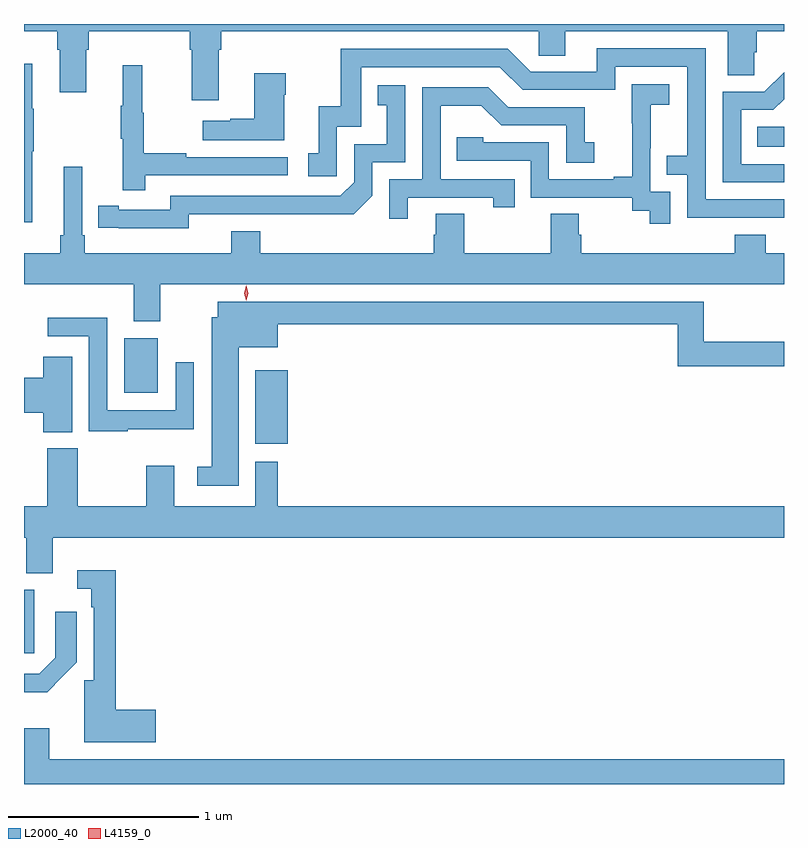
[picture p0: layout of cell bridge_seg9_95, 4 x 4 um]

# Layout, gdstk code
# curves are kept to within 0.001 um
import gdstk
lib = gdstk.Library(unit=1e-6, precision=1e-09)
def R(c, l, rs):  # rectangles x0, y0, x1, y1
    for r in rs: c.add(gdstk.rectangle(r[:2], r[2:], *l))
def P(c, l, *ps):  # polygons
    for p in ps: c.add(gdstk.Polygon(p, *l))
L2000_40 = (2000, 40)
L4159_0 = (4159, 0)

bridge_seg9_95 = lib.new_cell('bridge_seg9_95')
R(bridge_seg9_95, L2000_40, [(658.971,1194.48,659.026,1194.814), (660.188,1195.581,660.359,1195.969), (659.498,1195.85,659.674,1196.137), (662.83,1197.146,662.971,1197.25)])
P(bridge_seg9_95, L2000_40, [(659.995,1197.656),(660.008,1197.656),(660.008,1197.752),(661.68,1197.752),(661.68,1197.625),(661.819,1197.625),(661.819,1197.752),(662.675,1197.752),(662.675,1197.52),(662.814,1197.52),(662.814,1197.643),(662.828,1197.643),(662.828,1197.752),(662.971,1197.752),(662.971,1197.791),(658.971,1197.791),(658.971,1197.752),(659.147,1197.752),(659.147,1197.656),(659.159,1197.656),(659.159,1197.432),(659.299,1197.432),(659.299,1197.656),(659.312,1197.656),(659.312,1197.752),(659.843,1197.752),(659.843,1197.656),(659.855,1197.656),(659.855,1197.39),(659.995,1197.39)],
  [(662.971,1196.868),(662.559,1196.868),(662.559,1197.663),(661.985,1197.663),(661.985,1197.54),(661.638,1197.54),(661.518,1197.66),(660.639,1197.66),(660.639,1197.358),(660.521,1197.358),(660.521,1197.111),(660.468,1197.111),(660.468,1196.991),(660.618,1196.991),(660.618,1197.249),(660.747,1197.249),(660.747,1197.564),(661.476,1197.564),(661.596,1197.444),(662.082,1197.444),(662.082,1197.567),(662.463,1197.567),(662.463,1197.098),(662.353,1197.098),(662.353,1196.997),(662.463,1196.997),(662.463,1196.772),(662.971,1196.771)],
  [(659.014,1197.121),(659.022,1197.121),(659.022,1197.344),(659.014,1197.344),(659.014,1197.583),(658.971,1197.583),(658.971,1196.748),(659.014,1196.748)],
  [(659.609,1196.994),(660.358,1196.994),(660.358,1197.09),(659.825,1197.09),(659.825,1197.11),(659.602,1197.11),(659.602,1197.324),(659.594,1197.324),(659.594,1197.574),(659.492,1197.574),(659.492,1197.361),(659.481,1197.361),(659.481,1197.187),(659.492,1197.187),(659.492,1196.916),(659.609,1196.916)],
  [(662.971,1197.054),(662.745,1197.054),(662.745,1197.339),(662.914,1197.339),(662.971,1197.396),(662.971,1197.538),(662.868,1197.435),(662.649,1197.435),(662.649,1196.958),(662.971,1196.958)],
  [(660.34,1197.419),(660.348,1197.419),(660.348,1197.532),(660.182,1197.532),(660.182,1197.293),(660.056,1197.293),(660.056,1197.283),(659.913,1197.283),(659.913,1197.179),(660.34,1197.179)],
  [(662.373,1196.907),(662.268,1196.907),(662.268,1197.137),(662.27,1197.137),(662.27,1197.365),(662.368,1197.365),(662.368,1197.475),(662.17,1197.475),(662.17,1197.269),(662.171,1197.269),(662.171,1196.986),(662.075,1196.986),(662.075,1196.973),(661.734,1196.973),(661.734,1197.168),(661.389,1197.168),(661.389,1197.195),(661.249,1197.195),(661.249,1197.072),(661.638,1197.072),(661.638,1196.877),(662.172,1196.877),(662.172,1196.809),(662.265,1196.809),(662.265,1196.739),(662.373,1196.739)],
  [(659.838,1196.79),(660.706,1196.789),(660.804,1196.886),(660.804,1197.063),(660.978,1197.063),(660.978,1197.469),(660.832,1197.469),(660.832,1197.363),(660.881,1197.363),(660.881,1197.159),(660.708,1197.159),(660.708,1196.958),(660.636,1196.886),(659.742,1196.886),(659.742,1196.814),(659.47,1196.814),(659.47,1196.834),(659.362,1196.834),(659.362,1196.718),(659.838,1196.717)],
  [(660.991,1196.877),(661.442,1196.877),(661.442,1196.826),(661.553,1196.826),(661.553,1196.973),(661.164,1196.973),(661.164,1197.362),(661.378,1197.362),(661.482,1197.258),(661.824,1197.258),(661.824,1197.06),(661.972,1197.06),(661.972,1197.169),(661.923,1197.169),(661.923,1197.354),(661.519,1197.354),(661.414,1197.459),(661.068,1197.459),(661.068,1196.973),(660.894,1196.973),(660.894,1196.766),(660.991,1196.766)],
  [(659.291,1196.68),(659.277,1196.68),(659.277,1197.04),(659.18,1197.04),(659.18,1196.68),(659.161,1196.68),(659.161,1196.584),(658.971,1196.584),(658.971,1196.42),(659.549,1196.42),(659.549,1196.226),(659.689,1196.226),(659.689,1196.42),(662.971,1196.42),(662.971,1196.584),(662.876,1196.584),(662.876,1196.683),(662.711,1196.683),(662.711,1196.584),(661.904,1196.584),(661.904,1196.682),(661.891,1196.682),(661.891,1196.792),(661.744,1196.792),(661.744,1196.584),(661.287,1196.584),(661.287,1196.792),(661.139,1196.792),(661.139,1196.682),(661.127,1196.682),(661.127,1196.584),(660.215,1196.584),(660.215,1196.701),(660.062,1196.701),(660.062,1196.584),(659.291,1196.584)],
  [(660.1,1196.09),(660.307,1196.09),(660.307,1196.212),(662.413,1196.212),(662.413,1195.99),(662.971,1195.99),(662.971,1196.119),(662.549,1196.119),(662.549,1196.328),(660.203,1196.328),(660.203,1196.329),(659.99,1196.329),(659.99,1196.248),(659.96,1196.248),(659.96,1195.46),(659.883,1195.46),(659.883,1195.362),(660.1,1195.362)],
  [(659.516,1195.658),(659.865,1195.658),(659.865,1196.011),(659.769,1196.011),(659.769,1195.759),(659.409,1195.759),(659.409,1196.245),(659.097,1196.245),(659.097,1196.148),(659.313,1196.148),(659.313,1195.648),(659.516,1195.648)],
  [(659.224,1196.041),(659.072,1196.041),(659.072,1195.928),(658.971,1195.928),(658.971,1195.745),(659.072,1195.745),(659.072,1195.642),(659.224,1195.642)],
  [(659.122,1195.088),(662.971,1195.088),(662.971,1195.252),(660.307,1195.252),(660.307,1195.486),(660.188,1195.486),(660.188,1195.252),(659.761,1195.252),(659.761,1195.465),(659.614,1195.465),(659.614,1195.252),(659.253,1195.252),(659.253,1195.557),(659.093,1195.557),(659.093,1195.252),(658.971,1195.252),(658.971,1195.088),(658.982,1195.088),(658.982,1194.899),(659.122,1194.899)],
  [(659.665,1194.182),(659.453,1194.182),(659.453,1194.916),(659.25,1194.916),(659.25,1194.819),(659.325,1194.819),(659.325,1194.722),(659.337,1194.722),(659.337,1194.336),(659.288,1194.336),(659.288,1194.011),(659.665,1194.011)],
  [(659.175,1194.357),(659.174,1194.358),(659.248,1194.432),(659.248,1194.697),(659.136,1194.697),(659.136,1194.456),(659.052,1194.372),(658.971,1194.372),(658.971,1194.275),(659.093,1194.275)],
  [(662.971,1193.92),(659.104,1193.92),(659.104,1194.085),(658.971,1194.085),(658.971,1193.791),(662.971,1193.791)])
P(bridge_seg9_95, L4159_0, [(660.141,1196.335),(660.141,1196.336),(660.131,1196.375),(660.141,1196.415),(660.141,1196.415),(660.141,1196.415),(660.151,1196.375),(660.141,1196.336)])

lib.write_gds('bridge_seg9_95.gds')
